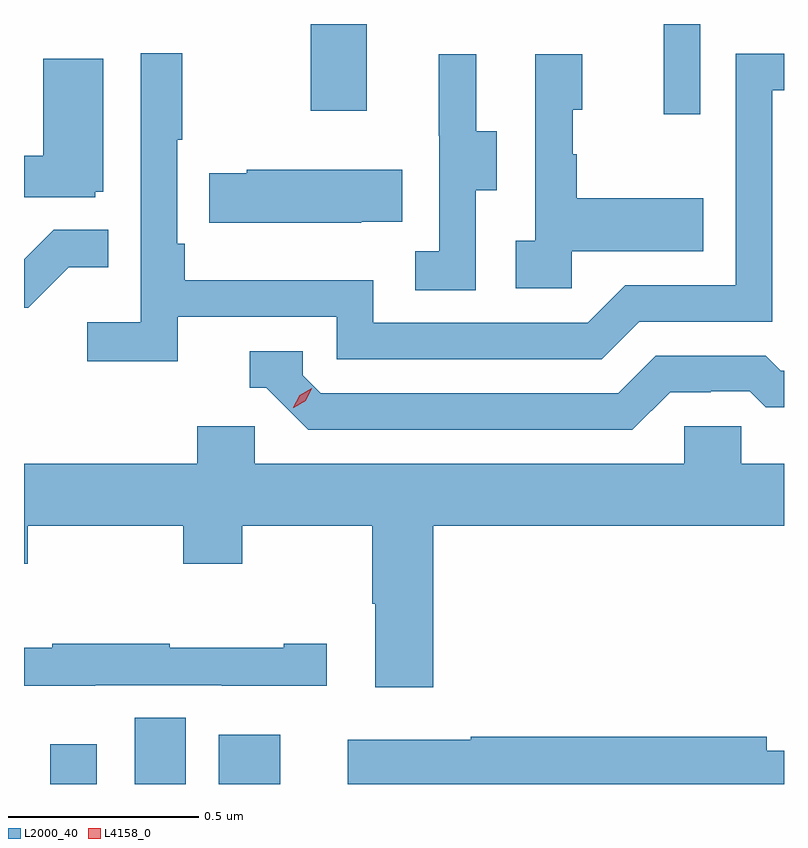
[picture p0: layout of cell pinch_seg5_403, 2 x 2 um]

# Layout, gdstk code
import gdstk
lib = gdstk.Library(unit=1e-6, precision=1e-09)
def R(c, l, rs):  # rectangles x0, y0, x1, y1
    for r in rs: c.add(gdstk.rectangle(r[:2], r[2:], *l))
def P(c, l, *ps):  # polygons
    for p in ps: c.add(gdstk.Polygon(p, *l))
L2000_40 = (2000, 40)
L4158_0 = (4158, 0)

pinch_seg5_403 = lib.new_cell('pinch_seg5_403')
R(pinch_seg5_403, L2000_40, [(994.754,865.405,994.876,865.51), (994.976,865.405,995.11,865.58), (995.198,865.405,995.359,865.534), (996.368,867.168,996.465,867.405), (995.44,867.177,995.587,867.405)])
P(pinch_seg5_403, L2000_40, [(995.09,866.634),(995.508,866.634),(995.508,866.523),(996.205,866.523),(996.304,866.622),(996.654,866.622),(996.654,867.231),(996.685,867.231),(996.685,867.327),(996.558,867.327),(996.558,866.718),(996.267,866.718),(996.168,866.619),(995.604,866.619),(995.604,866.731),(995.108,866.731),(995.108,866.827),(995.088,866.827),(995.088,867.1),(995.101,867.1),(995.101,867.328),(994.992,867.328),(994.992,866.62),(994.851,866.62),(994.851,866.518),(995.09,866.518)],
  [(995.874,866.968),(995.929,866.968),(995.929,867.123),(995.875,867.123),(995.875,867.325),(995.777,867.325),(995.777,867.111),(995.778,867.111),(995.778,866.807),(995.715,866.807),(995.715,866.704),(995.874,866.704)],
  [(996.126,866.807),(996.473,866.807),(996.473,866.947),(996.139,866.947),(996.139,867.062),(996.129,867.062),(996.129,867.18),(996.154,867.18),(996.154,867.325),(996.03,867.325),(996.03,866.834),(995.979,866.834),(995.979,866.709),(996.126,866.709)],
  [(994.872,866.964),(994.894,866.964),(994.894,867.313),(994.736,867.313),(994.736,867.058),(994.685,867.058),(994.685,866.949),(994.872,866.949)],
  [(995.573,866.885),(995.681,866.885),(995.681,867.022),(995.271,867.022),(995.271,867.012),(995.173,867.012),(995.173,866.882),(995.573,866.882)],
  [(994.803,866.765),(994.907,866.765),(994.907,866.864),(994.763,866.864),(994.685,866.786),(994.685,866.658),(994.696,866.658)],
  [(996.385,866.436),(996.492,866.436),(996.492,866.439),(996.595,866.439),(996.637,866.397),(996.685,866.397),(996.685,866.493),(996.676,866.493),(996.637,866.532),(996.348,866.532),(996.249,866.433),(995.466,866.433),(995.418,866.481),(995.418,866.544),(995.279,866.544),(995.279,866.448),(995.322,866.448),(995.433,866.337),(996.286,866.337)],
  [(995.762,866.084),(996.685,866.084),(996.685,866.248),(996.573,866.248),(996.573,866.346),(996.423,866.346),(996.423,866.248),(995.292,866.248),(995.292,866.346),(995.141,866.346),(995.141,866.248),(994.685,866.248),(994.685,865.985),(994.695,865.985),(994.695,866.084),(995.104,866.084),(995.104,865.985),(995.259,865.985),(995.259,866.084),(995.602,866.084),(995.602,865.88),(995.609,865.88),(995.609,865.659),(995.762,865.659)],
  [(994.872,865.665),(995.206,865.665),(995.206,865.664),(995.482,865.664),(995.482,865.774),(995.369,865.774),(995.369,865.764),(995.069,865.764),(995.069,865.774),(994.759,865.774),(994.759,865.764),(994.685,865.764),(994.685,865.664),(994.872,865.664)],
  [(996.685,865.493),(996.64,865.493),(996.64,865.529),(995.86,865.529),(995.86,865.522),(995.537,865.522),(995.537,865.405),(996.685,865.405)])
P(pinch_seg5_403, L4158_0, [(995.394,866.395),(995.394,866.396),(995.411,866.428),(995.442,866.447),(995.442,866.447),(995.442,866.447),(995.426,866.414),(995.395,866.395)])

lib.write_gds('pinch_seg5_403.gds')
